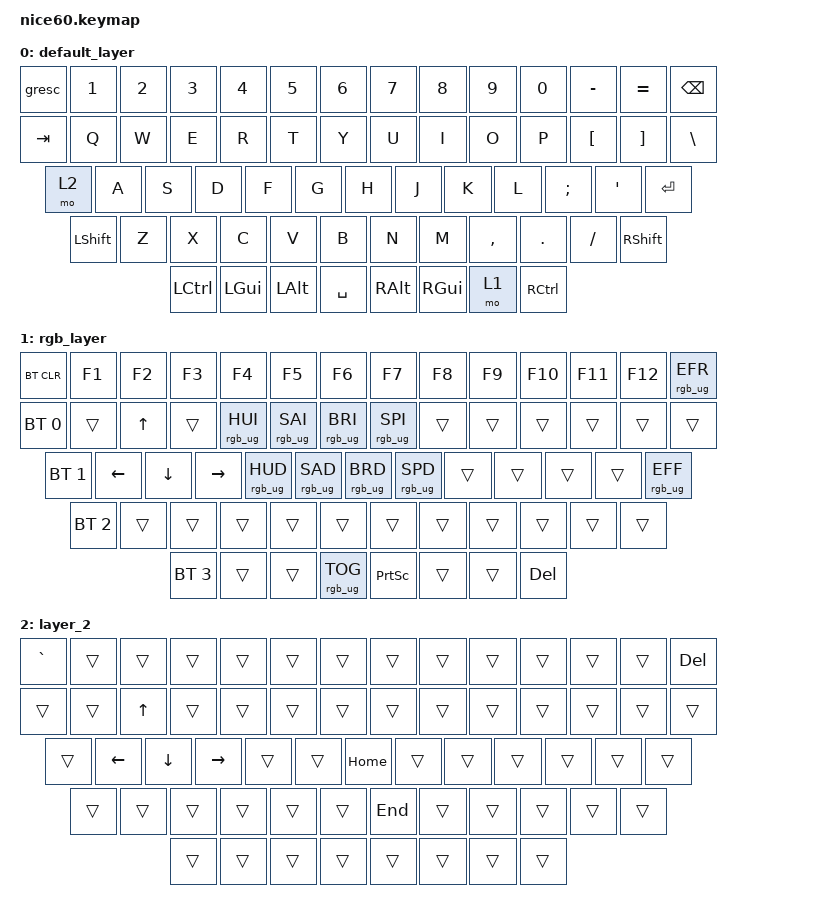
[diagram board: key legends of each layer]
/*
 * Copyright (c) 2021 Nick Winans
 *
 * SPDX-License-Identifier: MIT
 */

#include <behaviors.dtsi>
#include <dt-bindings/zmk/keys.h>
#include <dt-bindings/zmk/rgb.h>
#include <dt-bindings/zmk/bt.h>
#include <dt-bindings/zmk/outputs.h>
#include <dt-bindings/zmk/reset.h>
#include <dt-bindings/zmk/ext_power.h>

/ {
	keymap {
		compatible = "zmk,keymap";
		
		default_layer {
// ------------------------------------------------------------------------------------------
// | ESC |  1  |  2  |  3  |  4  |  5  |  6  |  7  |  8  |  9  |  0  |  -  |  =  |   BKSP   |
// | TAB  |  Q  |  W  |  E  |  R  |  T  |  Y  |  U  |  I  |  O  |  P  |  [  |  ]  |   "|"   |
// | MO(2) |  A  |  S  |  D  |  F  |  G  |  H  |  J  |  K  |  L  |  ;  |  '  |     ENTER    |
// |  SHIFT  |  Z  |  X  |  C  |  V  |  B  |  N  |  M  |  ,  |  .  |  /  |      SHIFT       |
// |  CTL  |  ALT  |  WIN  |            SPACE              |  ALT  |  WIN  |  MO(1) |  CTL  |
// ------------------------------------------------------------------------------------------
			bindings = <
	&gresc  &kp N1 &kp N2 &kp N3 &kp N4 &kp N5 &kp N6 &kp N7 &kp N8 &kp N9 &kp N0 &kp MINUS &kp EQUAL  &kp BSPC
	&kp TAB  &kp Q  &kp W  &kp E  &kp R  &kp T  &kp Y  &kp U  &kp I  &kp O  &kp P  &kp LBKT  &kp RBKT  &kp BSLH
	&mo 2  &kp A  &kp S  &kp D  &kp F  &kp G  &kp H  &kp J  &kp K  &kp L  &kp SEMI &kp SQT           &kp RET
	&kp LSHFT   &kp Z  &kp X  &kp C  &kp V  &kp B  &kp N  &kp M  &kp COMMA &kp DOT &kp FSLH           &kp RSHFT
	&kp LCTRL &kp LGUI &kp LALT             &kp SPACE                     &kp RALT  &kp RGUI  &mo 1   &kp RCTRL
			>;
		};

		rgb_layer {
// ------------------------------------------------------------------------------------------------
// | BT CLR | F1  | F2  | F3  | F4  | F5  | F6  | F7  | F8  | F9  | F10  | F11 | F12 | EFFECT REV |
// |  BT 1   |   |  UP |   | HUEUP | SATUP | BRIUP | SPDUP |   |     |    |     |     |           |
// |   BT 2   | LT |  DN  | RT | HUEDN | SATDN | BRIDN | SPDDN |   |     |   |     |  EFFECT FORW |
// |    BT 3     |     |      |      |     |     |     |     |     |     |     |                  |
// |   BT 4  |      |      |             TOG RGB                | PRT SCR |       |       |  DEL  |
// ------------------------------------------------------------------------------------------------
			bindings = <
	&bt BT_CLR   &kp F1    &kp F2    &kp F3  &kp F4           &kp F5          &kp F6          &kp F7          &kp F8   &kp F9   &kp F10  &kp F11 &kp F12  &rgb_ug RGB_EFR
	&bt BT_SEL 0  &trans    &kp UP    &trans  &rgb_ug RGB_HUI  &rgb_ug RGB_SAI &rgb_ug RGB_BRI &rgb_ug RGB_SPI  &trans   &trans   &trans   &trans  &trans          &trans 
	&bt BT_SEL 1   &kp LEFT  &kp DOWN  &kp RIGHT &rgb_ug RGB_HUD &rgb_ug RGB_SAD &rgb_ug RGB_BRD &rgb_ug RGB_SPD &trans   &trans   &trans   &trans        &rgb_ug RGB_EFF
	&bt BT_SEL 2    &trans    &trans    &trans   &trans          &trans          &trans          &trans          &trans   &trans   &trans                          &trans
	&bt BT_SEL 3  &trans   &trans                            &rgb_ug RGB_TOG                                      &kp PSCRN      &trans      &trans               &kp DEL
			>;
		};
		
		layer_2 {
// ------------------------------------------------------------------------------------------
// |GRAVE|     |     |     |     |     |     |     |     |     |     |     |   |(BKSP)DELETE|
// |      |     |(W)UP|     |     |     |     |     |     |     |     |     |     |         |
// |       |  A(LT)|(S)DN |(D)RT|     |     |(H)HOME|     |     |     |     |     |         |
// |         |     |     |     |     |     |(N)END|    |      |      |      |               |
// |       |       |       |                               |       |       |        |       |
// ------------------------------------------------------------------------------------------
			bindings = <
	&kp GRAVE &trans &trans &trans &trans &trans &trans &trans &trans &trans &trans &trans &trans &kp DEL
	&trans &trans &kp UP &trans &trans &trans &trans &trans &trans &trans &trans &trans &trans &trans
	&trans &kp LEFT &kp DOWN &kp RIGHT &trans &trans &kp HOME &trans &trans &trans &trans &trans &trans
	&trans &trans &trans &trans &trans &trans &kp END &trans &trans &trans &trans &trans
	&trans &trans &trans             &trans                     &trans  &trans  &trans   &trans
			>;
		};
	};
};
